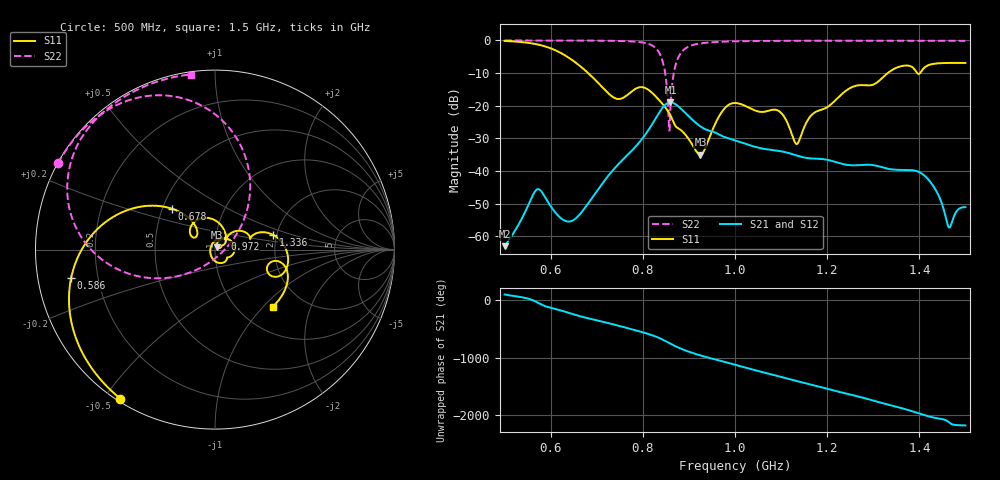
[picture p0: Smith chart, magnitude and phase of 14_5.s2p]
! TOUCHSTONE file generated by CST MICROWAVE STUDIO
! Date and time: Mon Oct 26 12:26:30 2020
! Project name: Scenario_1_Circular_Tissue_out_of_Line.cst
! Parameters = {dy1=-120.567; L_HA=400; MT=2.54; Rad_Dielectric=30; Rad_Lower=7.3; Rad_Upper=30; a_HA=580; a_WG=246; b_HA=500; b_WG=121; c_HA=0; c_WG=187; d_feed=85; dx1=866; h_feed=15; h_lower=18; h_upper=40}
! Header version: 2018
! Port assignment regex: !\s*Touchstone port\s*([0-9]+)\s*=\s*(CST MWS port|CST DS port)\s*([0-9]+|Zmin|Zmax)\s*\(\"(.*)\"\)(\s*mode\s*([0-9]+))?.*
! Touchstone port assignment:
! Touchstone port 1 = CST MWS port 1 ("")
! Touchstone port 2 = CST MWS port 2 ("")
# GHz S DB R 50
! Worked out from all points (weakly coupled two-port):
!   1001 points, 500 MHz to 1.5 GHz, reference 50 ohm
!   highest |S21| = -18.94 dB at 860 MHz (marker M1); lowest = -63.0 dB at 500 MHz (marker M2)
!   lowest |S11| = -35.0 dB at 925 MHz (marker M3), VSWR 1.04, Z = 51.3 + j1.23 ohm
!   |S11| at or under -10 dB: 681.3 MHz to 1.331 GHz (650.1 MHz wide, 64.6 % of centre); 1.395396 GHz to 1.40165 GHz (6.254 MHz wide, 0.447 % of centre)
!   |S22| runs from -27.6 to 0.0 dB; largest |S21 - S12| = 2.3e-05
!   S11 on the Smith chart (normalised r, x): 500 MHz: 0.01, -0.55; 586 MHz: 0.10, -0.10; 678 MHz: 0.56, +0.29; 972 MHz: 1.10, +0.14; 1.336 GHz: 1.92, +0.35; 1.5 GHz: 1.42, -1.13
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0.5  -0.14 -122.4  -62.99 98.2  -62.99 98.2  -0.01 151.1
0.566  -1.07 -156.2  -46.22 -18.1  -46.22 -18.1  -0.01 146.6
0.586  -1.75 -168.7  -47.55 -97.0  -47.55 -97.0  -0.02 145.2
0.631  -4.56 161.7  -55.21 160.7  -55.21 160.8  -0.03 141.6
0.667  -8.23 141.4  -52.59 73.7  -52.59 73.7  -0.04 138.4
0.678  -9.57 136.6  -50.54 51.1  -50.54 51.2  -0.05 137.3
0.741  -17.76 139.9  -38.78 -71.2  -38.78 -71.2  -0.14 129.1
0.782  -14.99 141.7  -32.86 -158.7  -32.86 -158.7  -0.36 119.7
0.834  -18.06 67.6  -22.46 67.2  -22.46 67.2  -3.42 82.6
0.86  -22.97 34.5  -18.94 -37.6  -18.94 -37.6  -20.45 -119.8
0.878  -27.00 30.9  -20.30 -108.1  -20.30 -108.1  -4.92 -169.8
0.925  -35.02 42.7  -26.32 118.7  -26.32 118.7  -0.91 156.0
0.972  -21.78 48.9  -29.27 17.5  -29.27 17.5  -0.39 144.6
1  -19.16 5.5  -30.60 -45.9  -30.60 -45.9  -0.27 140.2
1.095  -21.60 -64.2  -33.82 115.3  -33.82 115.3  -0.13 130.2
1.133  -31.69 176.1  -35.19 34.2  -35.19 34.2  -0.11 126.9
1.167  -22.73 62.6  -36.15 -32.4  -36.15 -32.4  -0.10 124.2
1.334  -9.72 15.3  -39.34 -20.2  -39.34 -20.2  -0.08 111.5
1.336  -9.51 14.1  -39.39 -24.3  -39.39 -24.3  -0.09 111.3
1.414  -8.00 -13.1  -41.75 152.1  -41.75 152.1  -0.10 105.2
1.464  -6.89 -34.9  -57.26 38.1  -57.38 37.9  -0.11 101.0
1.5  -6.88 -44.5  -51.06 -20.3  -51.03 -20.4  -0.13 97.9
